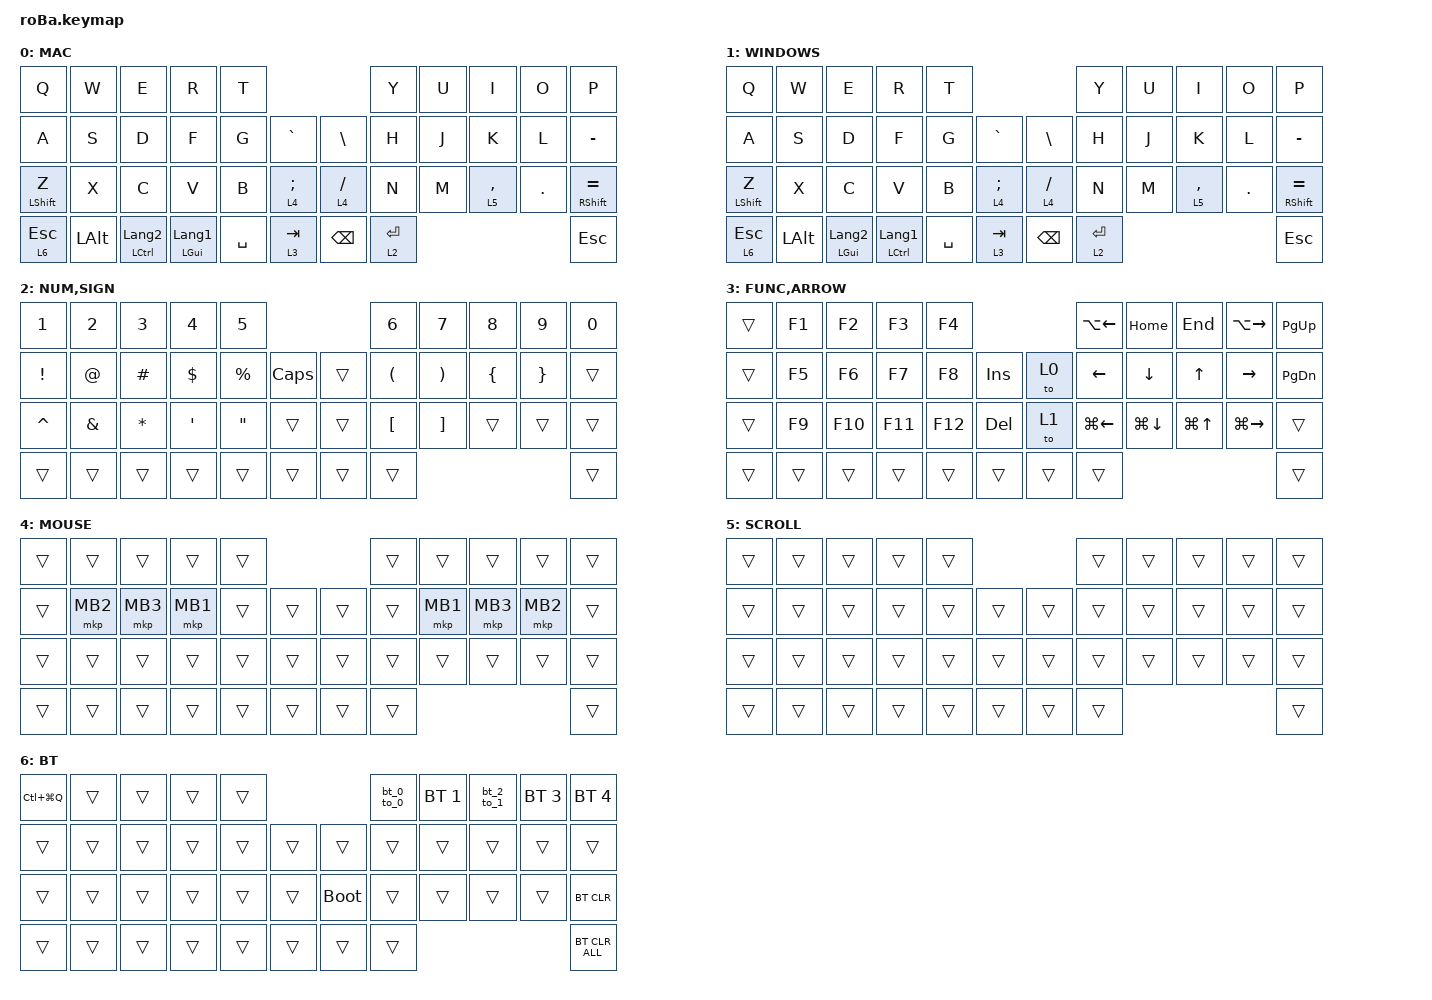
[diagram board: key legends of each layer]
#include <behaviors.dtsi>
#include <dt-bindings/zmk/bt.h>
#include <dt-bindings/zmk/keys.h>
#include <dt-bindings/zmk/pointing.h>

&mt {
    flavor = "balanced";
    quick-tap-ms = <0>;
};

&trackball {
    scroll-layers = <5>;

    // arrows {
    //     layers = <3>;
    //     bindings =
    //         <&kp RIGHT_ARROW>,
    //         <&kp LEFT_ARROW>,
    //         <&kp UP_ARROW>,
    //         <&kp DOWN_ARROW>;

    //     tick = <10>;
    //     wait-ms = <5>;
    //     tap-ms = <5>;
    // };
};

/ {
    combos {
        compatible = "zmk,combos";

        // tab {
        //     bindings = <&kp TAB>;
        //     key-positions = <11 12>;
        // };
        //
        // shift_tab {
        //     bindings = <&kp LS(TAB)>;
        //     key-positions = <12 13>;
        // };
        //
        // muhennkann {
        //     bindings = <&to_layer_0 INT_MUHENKAN>;
        //     key-positions = <11 10>;
        // };
        //
        // double_quotation {
        //     bindings = <&kp DOUBLE_QUOTES>;
        //     key-positions = <20 21>;
        // };
        //
        // eq {
        //     bindings = <&kp EQUAL>;
        //     key-positions = <24 25>;
        // };
    };

    macros {
        to_layer_0: to_layer_0 {
            compatible = "zmk,behavior-macro-one-param";
            #binding-cells = <1>;
            bindings = <&to 0 &macro_param_1to1 &kp MACRO_PLACEHOLDER>;
            label = "TO_LAYER_0";
        };

        bt_0_to_0: bt_0_to_0 {
            compatible = "zmk,behavior-macro";
            #binding-cells = <0>;
            bindings = <&bt BT_SEL 0>, <&to 0>;
            label = "BT_0_TO_0";
        };

        bt_2_to_1: bt_2_to_1 {
            compatible = "zmk,behavior-macro";
            #binding-cells = <0>;
            bindings = <&bt BT_SEL 2>, <&to 1>;
            label = "BT_2_TO_1";
        };
    };

    behaviors {
        lt_to_layer_0: lt_to_layer_0 {
            compatible = "zmk,behavior-hold-tap";
            label = "LAYER_TAP_TO_0";
            bindings = <&mo>, <&to_layer_0>;

            #binding-cells = <2>;
            tapping-term-ms = <200>;
        };
    };

    keymap {
        compatible = "zmk,keymap";

        MAC {
            bindings = <
&kp Q             &kp W         &kp E                        &kp R                    &kp T                                     &kp Y        &kp U  &kp I        &kp O    &kp P
&kp A             &kp S         &kp D                        &kp F                    &kp G      &kp GRAVE       &kp BACKSLASH  &kp H        &kp J  &kp K        &kp L    &kp MINUS
&mt LEFT_SHIFT Z  &kp X         &kp C                        &kp V                    &kp B      &lt 4 SEMI      &lt 4 SLASH    &kp N        &kp M  &lt 5 COMMA  &kp DOT  &mt RIGHT_SHIFT EQUAL
&lt 6 ESCAPE      &kp LEFT_ALT  &mt LEFT_CONTROL LANGUAGE_2  &mt LEFT_GUI LANGUAGE_1  &kp SPACE  &lt 3 TAB       &kp BACKSPACE  &lt 2 ENTER                               &kp ESCAPE
            >;
        };

        WINDOWS {
            bindings = <
&kp Q             &kp W         &kp E                    &kp R                        &kp T                                          &kp Y        &kp U  &kp I        &kp O    &kp P
&kp A             &kp S         &kp D                    &kp F                        &kp G      &kp GRAVE            &kp BACKSLASH  &kp H        &kp J  &kp K        &kp L    &kp MINUS
&mt LEFT_SHIFT Z  &kp X         &kp C                    &kp V                        &kp B      &lt 4 SEMICOLON      &lt 4 SLASH    &kp N        &kp M  &lt 5 COMMA  &kp DOT  &mt RIGHT_SHIFT EQUAL
&lt 6 ESCAPE      &kp LEFT_ALT  &mt LEFT_GUI LANGUAGE_2  &mt LEFT_CONTROL LANGUAGE_1  &kp SPACE  &lt 3 TAB            &kp BACKSPACE  &lt 2 ENTER                               &kp ESCAPE
            >;
        };

        NUM,SIGN {
            bindings = <
&kp NUMBER_1     &kp NUMBER_2   &kp NUMBER_3  &kp NUMBER_4    &kp N5                                       &kp NUMBER_6          &kp NUMBER_7           &kp NUMBER_8    &kp NUMBER_9     &kp NUMBER_0
&kp EXCLAMATION  &kp AT_SIGN    &kp HASH      &kp DOLLAR      &kp PERCENT        &kp CAPSLOCK      &trans  &kp LEFT_PARENTHESIS  &kp RIGHT_PARENTHESIS  &kp LEFT_BRACE  &kp RIGHT_BRACE  &trans
&kp CARET        &kp AMPERSAND  &kp ASTERISK  &kp APOSTROPHE  &kp DOUBLE_QUOTES  &trans            &trans  &kp LEFT_BRACKET      &kp RIGHT_BRACKET      &trans          &trans           &trans
&trans           &trans         &trans        &trans          &trans             &trans            &trans  &trans                                                                        &trans
            >;
        };

        FUNC,ARROW {
            bindings = <
&trans  &kp F1  &kp F2   &kp F3   &kp F4                           &kp LA(LEFT_ARROW)  &kp HOME            &kp END           &kp LA(RIGHT_ARROW)  &kp PAGE_UP
&trans  &kp F5  &kp F6   &kp F7   &kp F8   &kp INSERT      &to 0   &kp LEFT_ARROW      &kp DOWN_ARROW      &kp UP_ARROW      &kp RIGHT_ARROW      &kp PAGE_DOWN
&trans  &kp F9  &kp F10  &kp F11  &kp F12  &kp DELETE      &to 1   &kp LG(LEFT_ARROW)  &kp LG(DOWN_ARROW)  &kp LG(UP_ARROW)  &kp LG(RIGHT_ARROW)  &trans
&trans  &trans  &trans   &trans   &trans   &trans          &trans  &trans                                                                         &trans
            >;
        };

        MOUSE {
            bindings = <
&trans  &trans    &trans    &trans    &trans                      &trans  &trans    &trans    &trans    &trans
&trans  &mkp MB2  &mkp MB3  &mkp MB1  &trans  &trans      &trans  &trans  &mkp MB1  &mkp MB3  &mkp MB2  &trans
&trans  &trans    &trans    &trans    &trans  &trans      &trans  &trans  &trans    &trans    &trans    &trans
&trans  &trans    &trans    &trans    &trans  &trans      &trans  &trans                                &trans
            >;
        };

        SCROLL {
            bindings = <
&trans  &trans  &trans  &trans  &trans                      &trans  &trans  &trans  &trans  &trans
&trans  &trans  &trans  &trans  &trans  &trans      &trans  &trans  &trans  &trans  &trans  &trans
&trans  &trans  &trans  &trans  &trans  &trans      &trans  &trans  &trans  &trans  &trans  &trans
&trans  &trans  &trans  &trans  &trans  &trans      &trans  &trans                          &trans
            >;
        };

        BT {
            bindings = <
&kp LC(LG(Q))  &trans  &trans  &trans  &trans                           &bt_0_to_0  &bt BT_SEL 1  &bt_2_to_1  &bt BT_SEL 3  &bt BT_SEL 4
&trans         &trans  &trans  &trans  &trans  &trans      &trans       &trans      &trans        &trans      &trans        &trans
&trans         &trans  &trans  &trans  &trans  &trans      &bootloader  &trans      &trans        &trans      &trans        &bt BT_CLR
&trans         &trans  &trans  &trans  &trans  &trans      &trans       &trans                                              &bt BT_CLR_ALL
            >;
        };
    };
};
